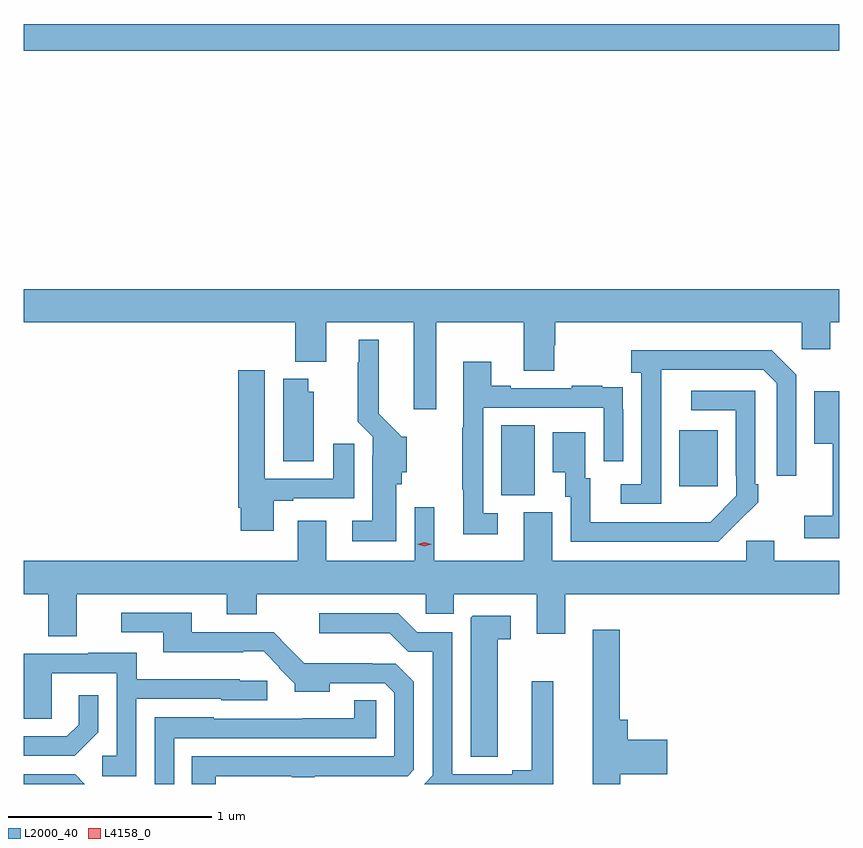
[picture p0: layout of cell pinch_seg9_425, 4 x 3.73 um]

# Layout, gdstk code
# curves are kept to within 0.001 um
import gdstk
lib = gdstk.Library(unit=1e-6, precision=1e-09)
def R(c, l, rs):  # rectangles x0, y0, x1, y1
    for r in rs: c.add(gdstk.rectangle(r[:2], r[2:], *l))
def P(c, l, *ps):  # polygons
    for p in ps: c.add(gdstk.Polygon(p, *l))
L2000_40 = (2000, 40)
L4158_0 = (4158, 0)

pinch_seg9_425 = lib.new_cell('pinch_seg9_425')
R(pinch_seg9_425, L2000_40, [(247.016,1246.189,247.18,1246.532), (247.889,1246.233,248.077,1246.507), (244.674,1248.368,248.674,1248.5)])
P(pinch_seg9_425, L2000_40, [(246.697,1247.036),(247.127,1247.036),(247.127,1246.798),(247.275,1246.798),(247.275,1246.923),(247.28,1246.923),(247.28,1247.036),(248.49,1247.036),(248.49,1246.905),(248.629,1246.905),(248.629,1247.036),(248.674,1247.036),(248.674,1247.2),(244.674,1247.2),(244.674,1247.036),(246.005,1247.036),(246.005,1246.844),(246.157,1246.844),(246.157,1247.036),(246.587,1247.036),(246.587,1246.611),(246.697,1246.611)],
  [(246.502,1246.242),(246.528,1246.242),(246.528,1246.3),(246.553,1246.3),(246.553,1246.475),(246.528,1246.475),(246.415,1246.588),(246.415,1246.951),(246.317,1246.951),(246.317,1246.841),(246.313,1246.841),(246.313,1246.55),(246.387,1246.476),(246.387,1246.382),(246.383,1246.382),(246.383,1246.063),(246.285,1246.063),(246.285,1245.962),(246.502,1245.962)],
  [(247.8,1246.603),(247.801,1246.803),(248.301,1246.803),(248.367,1246.737),(248.367,1246.284),(248.463,1246.284),(248.463,1246.779),(248.342,1246.9),(247.653,1246.9),(247.653,1246.79),(247.704,1246.79),(247.704,1246.242),(247.602,1246.242),(247.602,1246.146),(247.8,1246.146)],
  [(247,1246.101),(246.927,1246.101),(246.927,1246.617),(247.518,1246.617),(247.518,1246.356),(247.614,1246.356),(247.614,1246.61),(247.613,1246.61),(247.613,1246.719),(247.511,1246.719),(247.511,1246.726),(247.363,1246.726),(247.363,1246.713),(247.063,1246.713),(247.063,1246.726),(246.967,1246.726),(246.967,1246.843),(246.83,1246.843),(246.83,1246.52),(246.826,1246.52),(246.826,1246.216),(246.83,1246.216),(246.83,1245.996),(247,1245.996)],
  [(245.899,1246.161),(245.995,1246.161),(245.995,1246.173),(246.295,1246.173),(246.295,1246.441),(246.191,1246.441),(246.191,1246.269),(245.857,1246.269),(245.857,1246.801),(245.726,1246.801),(245.726,1246.126),(245.738,1246.126),(245.738,1246.014),(245.899,1246.014)],
  [(246.097,1246.695),(246.07,1246.695),(246.07,1246.759),(245.948,1246.759),(245.948,1246.354),(246.097,1246.354)],
  [(248.171,1246.051),(248.172,1246.05),(248.277,1246.155),(248.277,1246.243),(248.262,1246.243),(248.262,1246.701),(247.947,1246.701),(247.947,1246.605),(248.166,1246.605),(248.166,1246.285),(248.169,1246.285),(248.169,1246.185),(248.041,1246.057),(247.453,1246.056),(247.453,1246.272),(247.429,1246.272),(247.429,1246.498),(247.268,1246.498),(247.268,1246.301),(247.331,1246.301),(247.331,1246.182),(247.356,1246.182),(247.356,1245.96),(248.08,1245.96)],
  [(248.674,1246.699),(248.552,1246.699),(248.552,1246.442),(248.642,1246.442),(248.642,1246.087),(248.502,1246.087),(248.502,1245.978),(248.674,1245.978)],
  [(244.933,1245.704),(245.669,1245.704),(245.669,1245.605),(245.817,1245.605),(245.817,1245.704),(246.645,1245.704),(246.645,1245.606),(246.784,1245.606),(246.784,1245.704),(247.19,1245.704),(247.19,1245.51),(247.33,1245.51),(247.33,1245.704),(248.674,1245.704),(248.674,1245.868),(248.356,1245.868),(248.356,1245.966),(248.217,1245.966),(248.217,1245.868),(247.267,1245.868),(247.267,1246.104),(247.127,1246.104),(247.127,1245.868),(246.688,1245.868),(246.688,1246.129),(246.591,1246.129),(246.591,1245.868),(246.157,1245.868),(246.157,1246.063),(246.017,1246.063),(246.017,1245.868),(244.674,1245.868),(244.674,1245.704),(244.793,1245.704),(244.793,1245.496),(244.933,1245.496)],
  [(245.616,1244.811),(245.989,1244.811),(245.989,1244.806),(246.101,1244.806),(246.101,1244.811),(246.558,1244.811),(246.588,1244.841),(246.588,1245.273),(246.499,1245.362),(246.383,1245.362),(246.383,1245.364),(246.049,1245.364),(245.975,1245.437),(245.977,1245.439),(245.901,1245.516),(245.497,1245.516),(245.497,1245.612),(245.151,1245.612),(245.151,1245.516),(245.357,1245.516),(245.357,1245.419),(245.75,1245.419),(245.75,1245.422),(245.852,1245.422),(245.928,1245.345),(245.925,1245.342),(246.004,1245.264),(246.004,1245.224),(246.175,1245.224),(246.175,1245.267),(246.444,1245.267),(246.492,1245.219),(246.492,1244.907),(245.497,1244.907),(245.497,1244.772),(245.616,1244.772)],
  [(247.27,1245.277),(247.166,1245.277),(247.166,1244.84),(247.07,1244.84),(247.07,1244.82),(246.777,1244.82),(246.777,1245.516),(246.603,1245.516),(246.51,1245.609),(246.123,1245.609),(246.123,1245.512),(246.469,1245.512),(246.56,1245.421),(246.681,1245.421),(246.681,1244.814),(246.639,1244.772),(247.27,1244.772)],
  [(247,1245.481),(247.063,1245.481),(247.063,1245.597),(246.876,1245.597),(246.866,1245.587),(246.866,1244.905),(247,1244.905)],
  [(247.601,1244.819),(247.831,1244.819),(247.831,1244.99),(247.637,1244.99),(247.637,1245.088),(247.598,1245.088),(247.598,1245.529),(247.466,1245.529),(247.466,1244.772),(247.601,1244.772)],
  [(245.226,1245.189),(245.643,1245.189),(245.643,1245.183),(245.868,1245.183),(245.868,1245.279),(245.733,1245.279),(245.733,1245.286),(245.227,1245.286),(245.227,1245.415),(244.991,1245.415),(244.991,1245.411),(244.674,1245.411),(244.674,1245.091),(244.812,1245.091),(244.812,1245.315),(245.13,1245.315),(245.13,1244.91),(245.058,1244.91),(245.058,1244.809),(245.226,1244.809)],
  [(245.04,1245.026),(245.04,1245.208),(244.943,1245.208),(244.943,1245.063),(244.886,1245.006),(244.674,1245.006),(244.674,1244.91),(244.924,1244.91)],
  [(245.412,1244.997),(246.402,1244.997),(246.402,1245.182),(246.294,1245.182),(246.294,1245.094),(246.039,1245.094),(246.039,1245.093),(245.607,1245.093),(245.607,1245.1),(245.316,1245.1),(245.316,1244.772),(245.412,1244.772)],
  [(244.926,1244.82),(244.674,1244.82),(244.674,1244.772),(244.974,1244.772)])
P(pinch_seg9_425, L4158_0, [(246.639,1245.939),(246.603,1245.948),(246.603,1245.949),(246.603,1245.949),(246.639,1245.959),(246.674,1245.949),(246.674,1245.949),(246.674,1245.948)])

lib.write_gds('pinch_seg9_425.gds')
